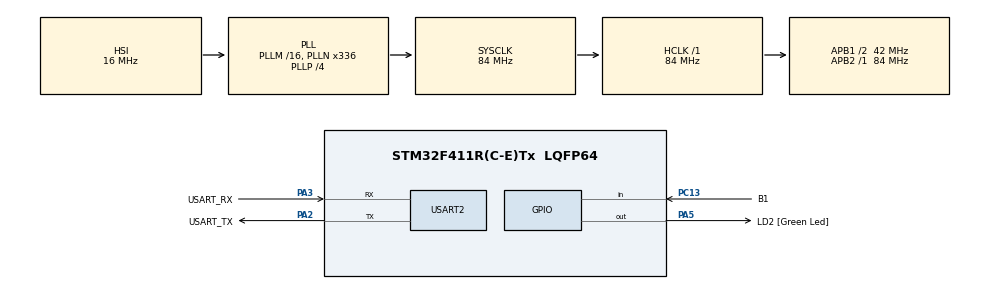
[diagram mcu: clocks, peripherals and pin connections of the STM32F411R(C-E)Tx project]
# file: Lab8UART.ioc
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Mcu.Family=STM32F4
Mcu.Name=STM32F411R(C-E)Tx
Mcu.Package=LQFP64
NVIC.PriorityGroup=NVIC_PRIORITYGROUP_0
NVIC.USART2_IRQn=true\:0\:0\:false\:false\:true\:true\:true
PA13.GPIO_Label=TMS
PA13.Mode=Serial_Wire
PA13.Signal=SYS_JTMS-SWDIO
PA14.GPIO_Label=TCK
PA14.Mode=Serial_Wire
PA14.Signal=SYS_JTCK-SWCLK
PA2.GPIO_Label=USART_TX
PA2.Mode=Asynchronous
PA2.Signal=USART2_TX
PA3.GPIO_Label=USART_RX
PA3.Mode=Asynchronous
PA3.Signal=USART2_RX
PA5.GPIO_Label=LD2 [Green Led]
PA5.Signal=GPIO_Output
PB3.GPIO_Label=SWO
PB3.Signal=SYS_JTDO-SWO
PC13-ANTI_TAMP.GPIO_Label=B1
PC13-ANTI_TAMP.Signal=GPIO_Input
PC14-OSC32_IN.Mode=LSE-External-Oscillator
PC14-OSC32_IN.Signal=RCC_OSC32_IN
PC15-OSC32_OUT.Mode=LSE-External-Oscillator
PC15-OSC32_OUT.Signal=RCC_OSC32_OUT
PH0\ -\ OSC_IN.Mode=HSE-External-Clock-Source
PH0\ -\ OSC_IN.Signal=RCC_OSC_IN
PH1\ -\ OSC_OUT.Mode=HSE-External-Clock-Source
PH1\ -\ OSC_OUT.Signal=RCC_OSC_OUT
ProjectManager.HeapSize=0x200
ProjectManager.StackSize=0x400
ProjectManager.TargetToolchain=STM32CubeIDE
RCC.48MHZClocksFreq_Value=84000000
RCC.AHBFreq_Value=84000000
RCC.APB1CLKDivider=RCC_HCLK_DIV2
RCC.APB1Freq_Value=42000000
RCC.APB1TimFreq_Value=84000000
RCC.APB2Freq_Value=84000000
RCC.APB2TimFreq_Value=84000000
RCC.CortexFreq_Value=84000000
RCC.FLatency-AdvancedSettings=FLASH_LATENCY_2
RCC.HCLKFreq_Value=84000000
RCC.HSE_VALUE=8000000
RCC.HSI_VALUE=16000000
RCC.PLLN=336
RCC.PLLP=RCC_PLLP_DIV4
RCC.SYSCLKFreq_VALUE=84000000
RCC.SYSCLKSource=RCC_SYSCLKSOURCE_PLLCLK
RCC.VCOOutputFreq_Value=336000000
USART2.VirtualMode=VM_ASYNC
board=NUCLEO-F411RE

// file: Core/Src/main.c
/* USER CODE BEGIN Header */
/**
 ******************************************************************************
 * @file           : main.c
 * @brief          : Main program body
 ******************************************************************************
 * @attention
 *
 * <h2><center>&copy; Copyright (c) 2021 STMicroelectronics.
 * All rights reserved.</center></h2>
 *
 * This software component is licensed by ST under BSD 3-Clause license,
 * the "License"; You may not use this file except in compliance with the
 * License. You may obtain a copy of the License at:
 *                        opensource.org/licenses/BSD-3-Clause
 *
 ******************************************************************************
 */
/* USER CODE END Header */
#include "main.h"

/* USER CODE BEGIN Includes */
#include <stdio.h>
#include <string.h>				//for use string
/* USER CODE END Includes */

UART_HandleTypeDef huart2;

/* USER CODE BEGIN PV */
char TxDataBuffer[32] =
{ 0 };
char RxDataBuffer[32] =
{ 0 };
char fq[50] =
{ 0 };

uint8_t B1[2] = {0};

int16_t inputchar = 0;

uint8_t state = 10;

enum	//Menu state
{
	printMain_Menu = 10,
	mainMenu_WaitInput = 20,
	printMode_0_Menu = 30,
	subMenu_0_WaitInput = 40,
	printMode_1_Menu = 50,
	subMenu_1_WaitInput = 60,
};

//--------------------LED
uint8_t LED_D = 0 ;				// 1 = LED on, 0 = LED off
uint8_t LED_On = 1 ;			// 1 = LED on, 0 = LED off (in case LED_D = 0) Blink
uint32_t TimeStamp = 0 ;		// time stamp

int Freq = 1 ;			// Default 1 Hz
float Period = 1000 ;		// Period for 1 Hz
float Half_Period = 500 ;  	// Half of 1 Hz

/* USER CODE END PV */

void SystemClock_Config(void);
static void MX_GPIO_Init(void);
static void MX_USART2_UART_Init(void);
/* USER CODE BEGIN PFP */
void UARTRecieveAndResponsePolling();
int16_t UARTRecieveIT();

void Print_Main_Menu();
void Print_Menu_0();
void Print_Menu_1();
void Print_Error();

void Print_fq();
void Print_Back();
void Print_OnOff();

/* USER CODE END PFP */

int main(void)
{

  /* MCU Configuration--------------------------------------------------------*/

  /* Reset of all peripherals, Initializes the Flash interface and the Systick. */
  HAL_Init();

  /* Configure the system clock */
  SystemClock_Config();

  /* Initialize all configured peripherals */
  MX_GPIO_Init();
  MX_USART2_UART_Init();
  /* USER CODE BEGIN 2 */
//  {
//  char temp[]="HELLO WORLD\r\n please type something to test UART\r\n";
//  HAL_UART_Transmit(&0huart2, (uint8_t*)temp, strlen(temp),10);
//  }
  /* USER CODE END 2 */

  /* Infinite loop */
  /* USER CODE BEGIN WHILE */
	while (1)
	{
		/*Method 1 Polling Mode*/			//BAD
//		UARTRecieveAndResponsePolling();

		/*Method 2 Interrupt Mode*/
//		HAL_UART_Receive_IT(&huart2,  (uint8_t*)RxDataBuffer, 32);

		/*Method 2 W/ 1 Char Received*/
//		int16_t inputchar = UARTRecieveIT();		//Focus on this character
//		if(inputchar!=-1)
//		{
//			sprintf(TxDataBuffer, "ReceivedChar:[%c]\r\n", inputchar);
//			HAL_UART_Transmit(&huart2, (uint8_t*)TxDataBuffer, strlen(TxDataBuffer), 1000);
//		}

//		/*This section just simmulate Work Load*/
//		HAL_Delay(100);
//		HAL_GPIO_TogglePin(LD2_GPIO_Port, LD2_Pin);

/////////////////////////////////////STATE///////////////////////////////////////

		HAL_UART_Receive_IT(&huart2,  (uint8_t*)RxDataBuffer, 32);

		inputchar = UARTRecieveIT();		//Focus on this character
		if(inputchar!=-1)
		{
			sprintf(TxDataBuffer, "You press:[%c]\r\n", inputchar);
			HAL_UART_Transmit(&huart2, (uint8_t*)TxDataBuffer, strlen(TxDataBuffer), 1000);
		}

		switch (state)
		{
		case printMain_Menu:
			Print_Main_Menu();
			state = mainMenu_WaitInput;
			break;
		case mainMenu_WaitInput: 			// 0, 1, Error
			switch (inputchar)
			{
				case -1 :
					break;
				case '0':
					state = printMode_0_Menu;
					break;
				case '1':
					state = printMode_1_Menu;
					break;
				default:
					Print_Error();
					state = printMain_Menu;
					break;
			}
			break;
		case printMode_0_Menu:
			Print_Menu_0();
			state = subMenu_0_WaitInput;
			break;
		case subMenu_0_WaitInput:			// a, s, d, x, Error
			switch (inputchar)
			{
				case -1 :
					break;
				case 'a':
					Freq = Freq + 1 ;
					Print_fq();
					state = printMode_0_Menu;
					break;
				case 's':
					if (Freq == 0) {Freq = 0;}
					else {Freq = Freq - 1 ;}
					Print_fq();
					state = printMode_0_Menu;
					break;
				case 'd':
					if (LED_D == 1) {LED_D = 0;}
					else {LED_D = 1;}
					Print_OnOff();
					state = printMode_0_Menu;
					break;
				case 'x':
					Print_Back();
					state = printMain_Menu;
					break;
				default:
					Print_Error();
					state = printMode_0_Menu;
					break;
			}
			break;
		case printMode_1_Menu:
			Print_Menu_1();
			state = subMenu_1_WaitInput;
			break;
		case subMenu_1_WaitInput:			// x, Error
			switch (inputchar)
			{
				case -1 :
					break;
				case 'x':
					Print_Back();
					state = printMain_Menu;
					break;
				default:
					Print_Error();
					state = printMode_1_Menu;
					break;
			}

			/////////////////////////////B1///////////////////////////////////////
			B1[0] = HAL_GPIO_ReadPin(GPIOC, GPIO_PIN_13);
			if(B1[0] == 0 && B1[1] == 1)
			{
				char B[]=("B1 = Press\r\n");
				HAL_UART_Transmit(&huart2, (uint8_t*)B, strlen(B), 1000);
				state = printMode_1_Menu;
			}
			else if(B1[1] == 0 && B1[0] == 1)
			{
				char B[]=("B1 = Unpress\r\n");
				HAL_UART_Transmit(&huart2, (uint8_t*)B, strlen(B), 1000);
				state = printMode_1_Menu;
			}
			B1[1] = B1[0] ;

			break;

		}

/////////////////////////////////////LED///////////////////////////////////////
		if (LED_D == 0)
		{
			if (HAL_GetTick() - TimeStamp >= Half_Period)
			{
				TimeStamp = HAL_GetTick();
				if (LED_On == 1)
				{
					HAL_GPIO_WritePin(LD2_GPIO_Port, LD2_Pin, GPIO_PIN_RESET);
					LED_On = 0;
				}
				else
				{
					HAL_GPIO_WritePin(LD2_GPIO_Port, LD2_Pin, GPIO_PIN_SET);
					LED_On = 1;
				}
			}
		}
		else
		{
			HAL_GPIO_WritePin(LD2_GPIO_Port, LD2_Pin, GPIO_PIN_RESET);
			LED_On = 0;
		}

    /* USER CODE END WHILE */

	}
}

void SystemClock_Config(void)
{
  RCC_OscInitTypeDef RCC_OscInitStruct = {0};
  RCC_ClkInitTypeDef RCC_ClkInitStruct = {0};

  /** Configure the main internal regulator output voltage
  */
  __HAL_RCC_PWR_CLK_ENABLE();
  __HAL_PWR_VOLTAGESCALING_CONFIG(PWR_REGULATOR_VOLTAGE_SCALE1);
  /** Initializes the RCC Oscillators according to the specified parameters
  * in the RCC_OscInitTypeDef structure.
  */
  RCC_OscInitStruct.OscillatorType = RCC_OSCILLATORTYPE_HSI;
  RCC_OscInitStruct.HSIState = RCC_HSI_ON;
  RCC_OscInitStruct.HSICalibrationValue = RCC_HSICALIBRATION_DEFAULT;
  RCC_OscInitStruct.PLL.PLLState = RCC_PLL_ON;
  RCC_OscInitStruct.PLL.PLLSource = RCC_PLLSOURCE_HSI;
  RCC_OscInitStruct.PLL.PLLM = 16;
  RCC_OscInitStruct.PLL.PLLN = 336;
  RCC_OscInitStruct.PLL.PLLP = RCC_PLLP_DIV4;
  RCC_OscInitStruct.PLL.PLLQ = 4;
  if (HAL_RCC_OscConfig(&RCC_OscInitStruct) != HAL_OK)
  {
    Error_Handler();
  }
  /** Initializes the CPU, AHB and APB buses clocks
  */
  RCC_ClkInitStruct.ClockType = RCC_CLOCKTYPE_HCLK|RCC_CLOCKTYPE_SYSCLK
                              |RCC_CLOCKTYPE_PCLK1|RCC_CLOCKTYPE_PCLK2;
  RCC_ClkInitStruct.SYSCLKSource = RCC_SYSCLKSOURCE_PLLCLK;
  RCC_ClkInitStruct.AHBCLKDivider = RCC_SYSCLK_DIV1;
  RCC_ClkInitStruct.APB1CLKDivider = RCC_HCLK_DIV2;
  RCC_ClkInitStruct.APB2CLKDivider = RCC_HCLK_DIV1;

  if (HAL_RCC_ClockConfig(&RCC_ClkInitStruct, FLASH_LATENCY_2) != HAL_OK)
  {
    Error_Handler();
  }
}

static void MX_USART2_UART_Init(void)
{

  huart2.Instance = USART2;
  huart2.Init.BaudRate = 115200;
  huart2.Init.WordLength = UART_WORDLENGTH_8B;
  huart2.Init.StopBits = UART_STOPBITS_1;
  huart2.Init.Parity = UART_PARITY_NONE;
  huart2.Init.Mode = UART_MODE_TX_RX;
  huart2.Init.HwFlowCtl = UART_HWCONTROL_NONE;
  huart2.Init.OverSampling = UART_OVERSAMPLING_16;
  if (HAL_UART_Init(&huart2) != HAL_OK)
  {
    Error_Handler();
  }

}

static void MX_GPIO_Init(void)
{
  GPIO_InitTypeDef GPIO_InitStruct = {0};

  /* GPIO Ports Clock Enable */
  __HAL_RCC_GPIOC_CLK_ENABLE();
  __HAL_RCC_GPIOH_CLK_ENABLE();
  __HAL_RCC_GPIOA_CLK_ENABLE();
  __HAL_RCC_GPIOB_CLK_ENABLE();

  /*Configure GPIO pin Output Level */
  HAL_GPIO_WritePin(LD2_GPIO_Port, LD2_Pin, GPIO_PIN_RESET);

  /*Configure GPIO pin : B1_Pin */
  GPIO_InitStruct.Pin = B1_Pin;
  GPIO_InitStruct.Mode = GPIO_MODE_INPUT;
  GPIO_InitStruct.Pull = GPIO_NOPULL;
  HAL_GPIO_Init(B1_GPIO_Port, &GPIO_InitStruct);

  /*Configure GPIO pin : LD2_Pin */
  GPIO_InitStruct.Pin = LD2_Pin;
  GPIO_InitStruct.Mode = GPIO_MODE_OUTPUT_PP;
  GPIO_InitStruct.Pull = GPIO_NOPULL;
  GPIO_InitStruct.Speed = GPIO_SPEED_FREQ_LOW;
  HAL_GPIO_Init(LD2_GPIO_Port, &GPIO_InitStruct);

}

/* USER CODE BEGIN 4 */
//void UARTRecieveAndResponsePolling()
//{
//	char Recieve[32]={0};
//
//	HAL_UART_Receive(&huart2, (uint8_t*)Recieve, 32, 1000);
//
//	sprintf(TxDataBuffer, "Received:[%s]\r\n", Recieve);
//	HAL_UART_Transmit(&huart2, (uint8_t*)TxDataBuffer, strlen(TxDataBuffer), 1000);
//
//}

int16_t UARTRecieveIT()
{
	static uint32_t dataPos =0;
	int16_t data=-1;
	if(huart2.RxXferSize - huart2.RxXferCount!=dataPos)
	{
		data=RxDataBuffer[dataPos];
		dataPos= (dataPos+1)%huart2.RxXferSize;
	}
	return data;
}

void HAL_UART_RxCpltCallback(UART_HandleTypeDef *huart)
{
	//sprintf(TxDataBuffer, "Received:[%s]\r\n", RxDataBuffer);
	HAL_UART_Transmit(&huart2, (uint8_t*)TxDataBuffer, strlen(TxDataBuffer), 1000);
}

////////////////////Print Menu////////////////////
void Print_Main_Menu()
{
	  char Main_Menu[]="Main_Menu\r\n"
			  "__press [0] for go to Menu_0\r\n"
			  "__press [1] for go to Menu_1\r\n"
			  "\r\n-----------------------------\r\n";
	  HAL_UART_Transmit(&huart2, (uint8_t*)Main_Menu, strlen(Main_Menu),100);

}

void Print_Menu_0()
{
	  char Menu_0[]="Menu_0\r\n"
			  "__press [a] for Freq + 1Hz\r\n"
			  "__press [s] for Freq - 1Hz\r\n"
			  "__press [d] for on/off LED\r\n"
			  "__press [x] for back to main menu\r\n"
			  "\r\n-----------------------------\r\n";
	  HAL_UART_Transmit(&huart2, (uint8_t*)Menu_0, strlen(Menu_0),100);

}

void Print_fq()
{
	  Period = (1.0/Freq)*1000.0 ;		//millisecond
	  Half_Period = Period/2.0 ;

      //char fq[]= ("frequency of LED is: %d \r\n", Freq);
	  sprintf(fq, "frequency of LED is: %d \r\n", Freq);
	  HAL_UART_Transmit(&huart2, (uint8_t*)fq, strlen(fq),100);

}

void Print_OnOff()
{
	if (LED_D == 0)
	{
		char D[]="LED is On\r\n";
		HAL_UART_Transmit(&huart2, (uint8_t*)D, strlen(D),100);
	}
	else
	{
		char D[]="LED is Off\r\n";
		HAL_UART_Transmit(&huart2, (uint8_t*)D, strlen(D),100);
	}

}

void Print_Menu_1()
{
	  char Menu_1[]="Menu_1\r\n"
			  "__Show B1 state\r\n"
			  "__press [x] for back to main menu\r\n"
			  "\r\n-----------------------------\r\n";
	  HAL_UART_Transmit(&huart2, (uint8_t*)Menu_1, strlen(Menu_1),100);

}

void Print_Error()
{
	  char Eror[]="Error : Out of choice\r\n";
	  HAL_UART_Transmit(&huart2, (uint8_t*)Eror, strlen(Eror),100);

}

void Print_Back()
{
	  char Back[]="Back to main menu\r\n";
	  HAL_UART_Transmit(&huart2, (uint8_t*)Back, strlen(Back),100);

}

/* USER CODE END 4 */

void Error_Handler(void)
{
	__disable_irq();
	while (1)
	{
	}
}

/************************ (C) COPYRIGHT STMicroelectronics *****END OF FILE****/
